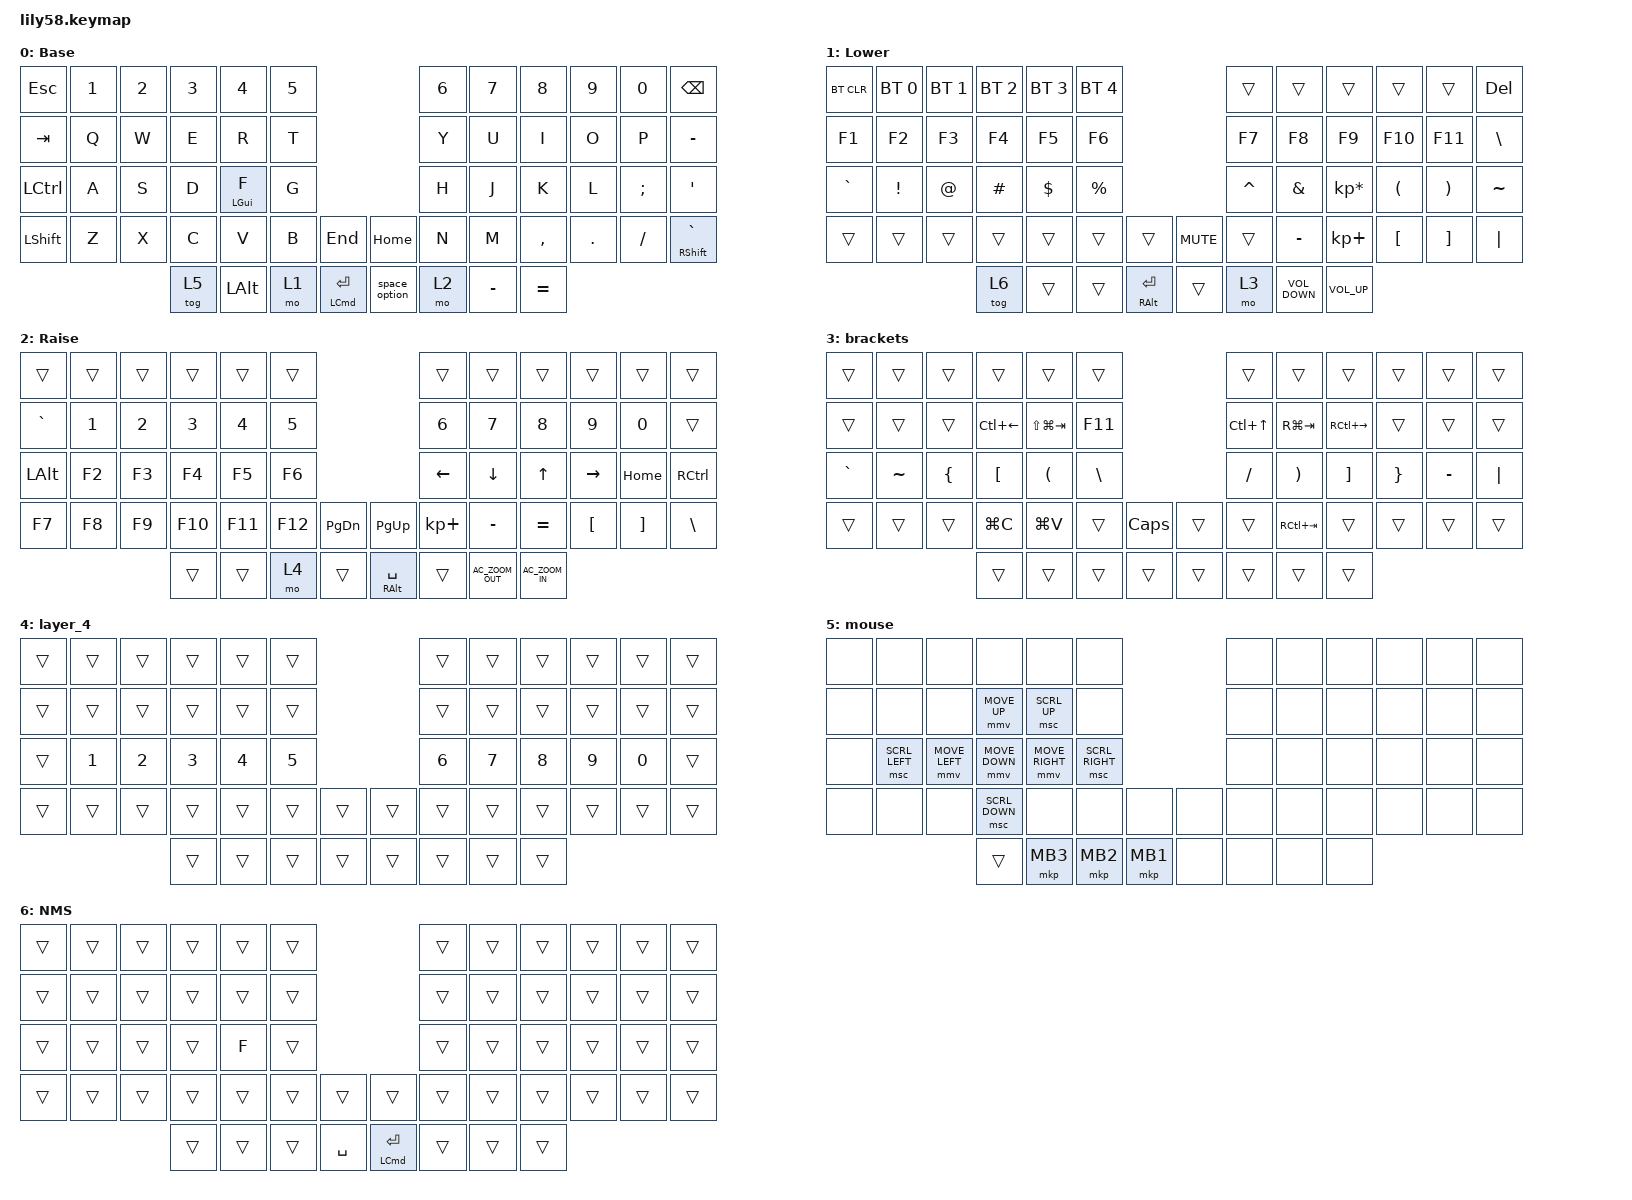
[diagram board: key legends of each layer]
/*
 * Copyright (c) 2020 The ZMK Contributors
 *
 * SPDX-License-Identifier: MIT
 */

#include <behaviors.dtsi>
#include <dt-bindings/zmk/bt.h>
#include <dt-bindings/zmk/keys.h>
#include <dt-bindings/zmk/pointing.h>

/ {
    behaviors {
        ht_bal: ht_bal {
            compatible = "zmk,behavior-hold-tap";
            label = "Hold-tap: balanced";
            bindings = <&kp>, <&kp>;

            #binding-cells = <2>;
            flavor = "balanced";
            tapping-term-ms = <250>;
        };

        ht_tap: ht_tap {
            compatible = "zmk,behavior-hold-tap";
            label = "Hold-tap: Tap";
            bindings = <&kp>, <&kp>;

            #binding-cells = <2>;
            tapping-term-ms = <250>;
            flavor = "tap-preferred";
        };

        ctrl_to_alt_key: ctrl_to_alt_key {
            compatible = "zmk,behavior-mod-morph";
            label = "CTRL_TO_ALT_KEY";
            bindings = <&kp LCTRL>, <&kp LEFT_ALT>;

            #binding-cells = <0>;
            mods = <(MOD_RSFT|MOD_RGUI)>;
            keep-mods = <(MOD_LGUI|MOD_RCTL)>;
        };

        space_option: space_option {
            compatible = "zmk,behavior-mod-morph";
            label = "SPACE_OPTION";
            bindings = <&kp SPACE>, <&mt RIGHT_ALT SPACE>;

            #binding-cells = <0>;
            mods = <(MOD_RCTL)>;
            keep-mods = <(MOD_LGUI|MOD_LCTL|MOD_LSFT)>;
        };
    };

    keymap {
        compatible = "zmk,keymap";

        base {
            // ------------------------------------------------------------------------------------------------------------
            // |  ESC  |  1  |  2  |  3   |  4   |  5   |                   |  6   |  7    |  8    |  9   |   0   |   `   |
            // |  TAB  |  Q  |  W  |  E   |  R   |  T   |                   |  Y   |  U    |  I    |  O   |   P   |   -   |
            // |  CTRL |  A  |  S  |  D   |  F   |  G   |                   |  H   |  J    |  K    |  L   |   ;   |   '   |
            // | SHIFT |  Z  |  X  |  C   |  V   |  B   |   "["  |  |  "]"  |  N   |  M    |  ,    |  .   |   /   | SHIFT |
            //                     | ALT  | GUI  | LOWER|  SPACE |  | ENTER | RAISE| BSPC  | GUI   |

            display-name = "Base";
            bindings = <
&kp ESC    &kp N1  &kp N2  &kp N3  &kp N4              &kp N5                                 &kp N6  &kp N7     &kp N8     &kp N9   &kp N0         &kp BACKSPACE
&kp TAB    &kp Q   &kp W   &kp E   &kp R               &kp T                                  &kp Y   &kp U      &kp I      &kp O    &kp P          &kp MINUS
&kp LCTRL  &kp A   &kp S   &kp D   &ht_bal LEFT_GUI F  &kp G                                  &kp H   &kp J      &kp K      &kp L    &kp SEMICOLON  &kp SQT
&kp LSHFT  &kp Z   &kp X   &kp C   &kp V               &kp B   &kp END         &kp HOME       &kp N   &kp M      &kp COMMA  &kp DOT  &kp FSLH       &mt RIGHT_SHIFT GRAVE
                           &tog 5  &kp LEFT_ALT        &mo 1   &mt LCMD RET    &space_option  &mo 2   &kp MINUS  &kp EQUAL
            >;
        };

        lower {
            // ------------------------------------------------------------------------------------------------------------
            // | BTCLR | BT1 | BT2 |  BT3 |  BT4 |  BT5 |                   |      |       |       |      |       |       |
            // |  F1   |  F2 |  F3 |  F4  |  F5  |  F6  |                   |  F7  |  F8   |  F9   |  F10 |  F11  |  F12  |
            // |   `   |  !  |  @  |  #   |  $   |  %   |                   |  ^   |  &    |  *    |  (   |   )   |   ~   |
            // |       |     |     |      |      |      |        |  |       |      |  _    |  +    |  {   |   }   |  "|"  |
            //                     |      |      |      |        |  |       |      |       |       |

            display-name = "Lower";
            bindings = <
&bt BT_CLR  &bt BT_SEL 0  &bt BT_SEL 1  &bt BT_SEL 2  &bt BT_SEL 3  &bt BT_SEL 4                                     &trans     &trans             &trans           &trans            &trans             &kp DELETE
&kp F1      &kp F2        &kp F3        &kp F4        &kp F5        &kp F6                                           &kp F7     &kp F8             &kp F9           &kp F10           &kp F11            &kp BACKSLASH
&kp GRAVE   &kp EXCL      &kp AT        &kp HASH      &kp DOLLAR    &kp PRCNT                                        &kp CARET  &kp AMPS           &kp KP_MULTIPLY  &kp LPAR          &kp RPAR           &kp TILDE
&trans      &trans        &trans        &trans        &trans        &trans        &trans                 &kp K_MUTE  &trans     &kp MINUS          &kp KP_PLUS      &kp LEFT_BRACKET  &kp RIGHT_BRACKET  &kp PIPE
                                        &tog 6        &trans        &trans        &mt RIGHT_ALT ENTER    &trans      &mo 3      &kp C_VOLUME_DOWN  &kp C_VOLUME_UP
            >;
        };

        raise {
            // ------------------------------------------------------------------------------------------------------------
            // |       |     |     |      |      |      |                   |      |       |       |      |       |       |
            // |   `   |  1  |  2  |  3   |  4   |  5   |                   |  6   |   7   |   8   |  9   |   0   |       |
            // |   F1  |  F2 |  F3 |  F4  |  F5  |  F6  |                   |      |   <-  |   v   |  ^   |  ->   |       |
            // |   F7  |  F8 |  F9 |  F10 |  F11 |  F12 |        |  |       |  +   |   -   |   =   |  [   |   ]   |   \   |
            //                     |      |      |      |        |  |       |      |       |       |

            display-name = "Raise";
            bindings = <
&trans     &trans  &trans  &trans   &trans   &trans                                         &trans       &trans             &trans            &trans     &trans    &trans
&kp GRAVE  &kp N1  &kp N2  &kp N3   &kp N4   &kp N5                                         &kp N6       &kp N7             &kp N8            &kp N9     &kp N0    &trans
&kp LALT   &kp F2  &kp F3  &kp F4   &kp F5   &kp F6                                         &kp LEFT     &kp DOWN           &kp UP_ARROW      &kp RIGHT  &kp HOME  &kp RIGHT_CONTROL
&kp F7     &kp F8  &kp F9  &kp F10  &kp F11  &kp F12  &kp PAGE_DOWN    &kp PAGE_UP          &kp KP_PLUS  &kp MINUS          &kp EQUAL         &kp LBKT   &kp RBKT  &kp BSLH
                           &trans   &trans   &mo 4    &trans           &mt RIGHT_ALT SPACE  &trans       &kp C_AC_ZOOM_OUT  &kp C_AC_ZOOM_IN
            >;
        };

        brackets {
            bindings = <
&trans     &trans     &trans          &trans              &trans                &trans                             &trans            &trans                 &trans             &trans           &trans     &trans
&trans     &trans     &trans          &kp LC(LEFT_ARROW)  &kp LS(LG(TAB))       &kp F11                            &kp LC(UP_ARROW)  &kp RG(TAB)            &kp RC(RIGHT)      &trans           &trans     &trans
&kp GRAVE  &kp TILDE  &kp LEFT_BRACE  &kp LEFT_BRACKET    &kp LEFT_PARENTHESIS  &kp BACKSLASH                      &kp SLASH         &kp RIGHT_PARENTHESIS  &kp RIGHT_BRACKET  &kp RIGHT_BRACE  &kp MINUS  &kp PIPE
&trans     &trans     &trans          &kp LG(C)           &kp LG(V)             &trans         &kp CAPS    &trans  &trans            &kp RC(TAB)            &trans             &trans           &trans     &trans
                                      &trans              &trans                &trans         &trans      &trans  &trans            &trans                 &trans
            >;
        };

        layer_4 {
            bindings = <
&trans  &trans  &trans  &trans  &trans  &trans                    &trans  &trans  &trans  &trans  &trans  &trans
&trans  &trans  &trans  &trans  &trans  &trans                    &trans  &trans  &trans  &trans  &trans  &trans
&trans  &kp N1  &kp N2  &kp N3  &kp N4  &kp N5                    &kp N6  &kp N7  &kp N8  &kp N9  &kp N0  &trans
&trans  &trans  &trans  &trans  &trans  &trans  &trans    &trans  &trans  &trans  &trans  &trans  &trans  &trans
                        &trans  &trans  &trans  &trans    &trans  &trans  &trans  &trans
            >;
        };

        mouse {
            bindings = <
&none  &none           &none           &none           &none            &none                               &none  &none  &none  &none  &none  &none
&none  &none           &none           &mmv MOVE_UP    &msc SCRL_UP     &none                               &none  &none  &none  &none  &none  &none
&none  &msc SCRL_LEFT  &mmv MOVE_LEFT  &mmv MOVE_DOWN  &mmv MOVE_RIGHT  &msc SCRL_RIGHT                     &none  &none  &none  &none  &none  &none
&none  &none           &none           &msc SCRL_DOWN  &none            &none            &none       &none  &none  &none  &none  &none  &none  &none
                                       &trans          &mkp MB3         &mkp MB2         &mkp MB1    &none  &none  &none  &none
            >;
        };

        NMS {
            bindings = <
&trans  &trans  &trans  &trans  &trans  &trans                               &trans  &trans  &trans  &trans  &trans  &trans
&trans  &trans  &trans  &trans  &trans  &trans                               &trans  &trans  &trans  &trans  &trans  &trans
&trans  &trans  &trans  &trans  &kp F   &trans                               &trans  &trans  &trans  &trans  &trans  &trans
&trans  &trans  &trans  &trans  &trans  &trans  &trans       &trans          &trans  &trans  &trans  &trans  &trans  &trans
                        &trans  &trans  &trans  &kp SPACE    &mt LCMD ENTER  &trans  &trans  &trans
            >;
        };
    };
};
